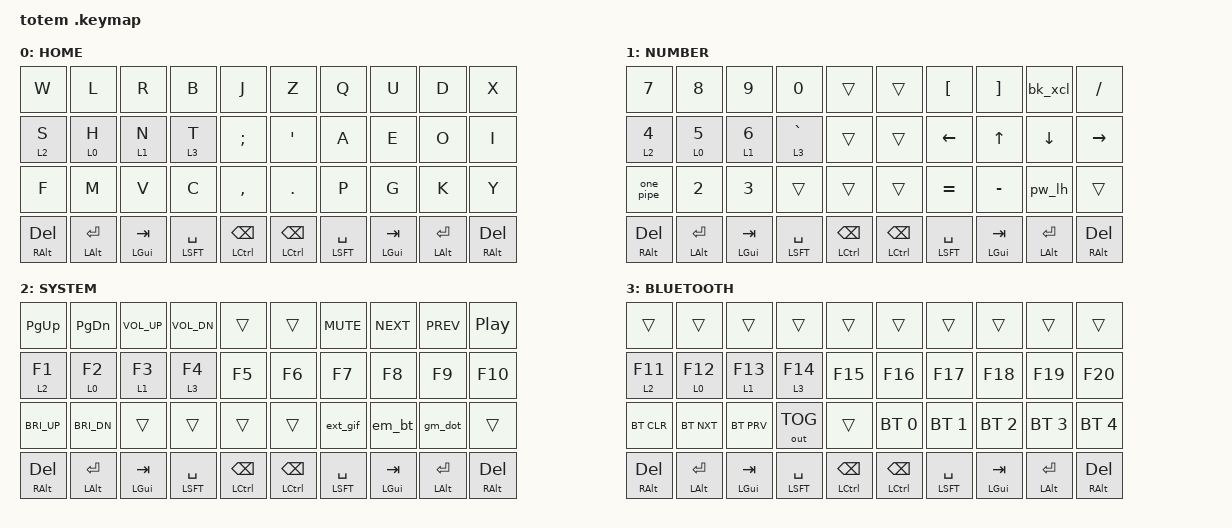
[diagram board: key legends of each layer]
/*
 * Copyright (c) 2022 The ZMK Contributors
 *
 * SPDX-License-Identifier: MIT
 */

#include <behaviors.dtsi>
#include <dt-bindings/zmk/keys.h>
#include <dt-bindings/zmk/bt.h>
#include <dt-bindings/zmk/outputs.h>

#define HOME 0
#define NUMBER 1
#define SYSTEM 2
#define BLUETOOTH 3

/ {
    combos {
        compatible = "zmk,combos";

        combo_left_esc {
            timeout-ms = <50>;
            key-positions = <00 01>;
            bindings = <&kp ESC>;
        };

        combo_left_sys_reset {
            timeout-ms = <50>;
            key-positions = <00 20>;
            bindings = <&sys_reset>;
        };

        combo_left_bootloader {
            timeout-ms = <50>;
            key-positions = <04 24>;
            bindings = <&bootloader>;
        };

        combo_right_bootloader {
            timeout-ms = <50>;
            key-positions = <05 25>;
            bindings = <&bootloader>;
        };

        combo_right_sys_reset {
            timeout-ms = <50>;
            key-positions = <09 29>;
            bindings = <&sys_reset>;
        };

        combo_right_esc {
            timeout-ms = <50>;
            key-positions = <08 09>;
            bindings = <&kp ESC>;
        };
    };

    behaviors {
        t_l_t_kp: toggle_layer_tap_keypress {
            compatible = "zmk,behavior-hold-tap";
            #binding-cells = <2>;
            flavor = "hold-preferred";
            tapping-term-ms = <300>;
            bindings = <&to>, <&kp>;
        };
         
        c_h_t: custom_hold_tap {
            compatible = "zmk,behavior-hold-tap";
            #binding-cells = <2>;
            flavor = "balanced";
            tapping-term-ms = <170>;
            quick-tap-ms = <100>;
            bindings = <&kp>, <&kp>;
        };

        one_pipe: one_pipe {
            compatible = "zmk,behavior-mod-morph";
            #binding-cells = <0>;
            bindings = <&kp N1>, <&kp PIPE>;
            keep-mods = <0>;
            mods = <(MOD_LSFT)>;
        };

        bk_xcl: backslash_shriek {
            compatible = "zmk,behavior-mod-morph";
            #binding-cells = <0>;
            bindings = <&kp BACKSLASH>, <&kp EXCLAMATION>;
            keep-mods = <0>;
            mods = <(MOD_LSFT)>;
        };
    };

    macros {
        ext_gif: dot_gif {            
            compatible = "zmk,behavior-macro";
            #binding-cells = <0>;
            wait-ms = <20>;
            tap-ms = <20>;
            bindings = <&kp DOT &kp G &kp I &kp F>;
        };

        gm_dot: gmail_with_a_dot {
            compatible = "zmk,behavior-macro";
            #binding-cells = <0>;
            wait-ms = <20>;
            tap-ms = <20>;
            bindings = <
                &kp D &kp A &kp V &kp I &kp D &kp DOT &kp L &kp E &kp D &kp G &kp E &kp R &kp W &kp O &kp O &kp D &kp N1 &kp N6 &kp N5
                &kp AT
                &kp G &kp M &kp A &kp I &kp L &kp DOT &kp C &kp O &kp M>;
        };

        em_bt: bt_email {
            compatible = "zmk,behavior-macro";
            #binding-cells = <0>;
            wait-ms = <20>;
            tap-ms = <20>;
            bindings = <
                &kp D &kp A &kp V &kp I &kp D &kp L &kp E &kp D &kp G &kp E &kp R &kp W &kp O &kp O &kp D &kp N1 &kp N6 &kp N5
                &kp AT
                &kp B &kp T &kp I &kp N &kp T &kp E &kp R &kp N &kp E &kp T &kp DOT &kp C &kp O &kp M>;
        };

        pw_lh: password_lh {
            compatible = "zmk,behavior-macro";
            #binding-cells = <0>;
            wait-ms = <20>;
            tap-ms = <20>;
            bindings = 
                <&macro_press &kp LSHFT>,
                <&macro_tap &kp L>,
                <&macro_release &kp LSHFT>,
                <&macro_tap &kp I &kp L &kp L &kp Y >,
                <&macro_tap &kp P &kp A &kp S &kp S>,
                <&macro_press &kp LSHFT>,
                <&macro_press &kp N7>,
                <&macro_release &kp LSHFT>,
                <&macro_tap &kp N1 &kp N2 &kp N3 &kp N4>,
                <&macro_press &kp LSHFT>,
                <&macro_tap &kp H>,
                <&macro_release &kp LSHFT>,
                <&macro_tap &kp A &kp R &kp R &kp Y>;
        }; 
    };

    keymap {
        compatible = "zmk,keymap";

        layer_0 {
            display-name = "HOME";
            bindings = <
    &kp W           &kp L            &kp R             &kp B             &kp J               &kp Z             &kp Q             &kp U            &kp D           &kp X 
    &t_l_t_kp 2 S   &t_l_t_kp 0 H    &t_l_t_kp 1 N     &t_l_t_kp 3 T     &kp SEMI            &kp APOS          &kp A             &kp E            &kp O           &kp I 
    &kp F           &kp M            &kp V             &kp C             &kp COMMA           &kp DOT           &kp P             &kp G            &kp K           &kp Y 
    &c_h_t RALT DEL &c_h_t LALT RET  &c_h_t LGUI TAB   &c_h_t LSFT SPACE &c_h_t LCTRL BSPC   &c_h_t LCTRL BSPC &c_h_t LSFT SPACE &c_h_t LGUI TAB  &c_h_t LALT RET &c_h_t RALT DEL    
            >;
        };

        layer_1 {
            display-name = "NUMBER";
            bindings = <
    &kp N7          &kp N8           &kp N9            &kp N0            &trans              &trans            &kp LBKT          &kp RBKT         &bk_xcl         &kp FSLH
    &t_l_t_kp 2 N4  &t_l_t_kp 0 N5   &t_l_t_kp 1 N6    &t_l_t_kp 3 GRAVE &trans              &trans            &kp LEFT          &kp UP           &kp DOWN        &kp RIGHT 
    &one_pipe       &kp N2           &kp N3            &trans            &trans              &trans            &kp EQUAL         &kp MINUS        &pw_lh          &trans 
    &c_h_t RALT DEL &c_h_t LALT RET  &c_h_t LGUI TAB   &c_h_t LSFT SPACE &c_h_t LCTRL BSPC   &c_h_t LCTRL BSPC &c_h_t LSFT SPACE &c_h_t LGUI TAB  &c_h_t LALT RET &c_h_t RALT DEL    
            >;  
        };

        layer_2 {
            display-name = "SYSTEM";
            bindings = <
    &kp PG_UP       &kp PG_DN        &kp C_VOL_UP      &kp C_VOL_DN      &trans              &trans            &kp C_MUTE        &kp C_NEXT       &kp C_PREV      &kp C_PP    
    &t_l_t_kp 2 F1  &t_l_t_kp 0 F2   &t_l_t_kp 1 F3    &t_l_t_kp 3 F4    &kp F5              &kp F6            &kp F7            &kp F8           &kp F9          &kp F10
    &kp C_BRI_UP    &kp C_BRI_DN     &trans            &trans            &trans              &trans            &ext_gif          &em_bt           &gm_dot         &trans  
    &c_h_t RALT DEL &c_h_t LALT RET  &c_h_t LGUI TAB   &c_h_t LSFT SPACE &c_h_t LCTRL BSPC   &c_h_t LCTRL BSPC &c_h_t LSFT SPACE &c_h_t LGUI TAB  &c_h_t LALT RET &c_h_t RALT DEL    
            >;
        };

        layer_3 {
            display-name = "BLUETOOTH";
            bindings = <
    &trans          &trans           &trans           &trans            &trans             &trans            &trans            &trans           &trans           &trans
    &t_l_t_kp 2 F11 &t_l_t_kp 0 F12  &t_l_t_kp 1 F13  &t_l_t_kp 3 F14   &kp F15            &kp F16           &kp F17           &kp F18          &kp F19          &kp F20
    &bt BT_CLR      &bt BT_NXT       &bt BT_PRV       &out OUT_TOG      &trans             &bt BT_SEL 0      &bt BT_SEL 1      &bt BT_SEL 2     &bt BT_SEL 3     &bt BT_SEL 4   
    &c_h_t RALT DEL &c_h_t LALT RET  &c_h_t LGUI TAB  &c_h_t LSFT SPACE &c_h_t LCTRL BSPC  &c_h_t LCTRL BSPC &c_h_t LSFT SPACE &c_h_t LGUI TAB  &c_h_t LALT RET  &c_h_t RALT DEL    
            >;
        };
    };
    };
